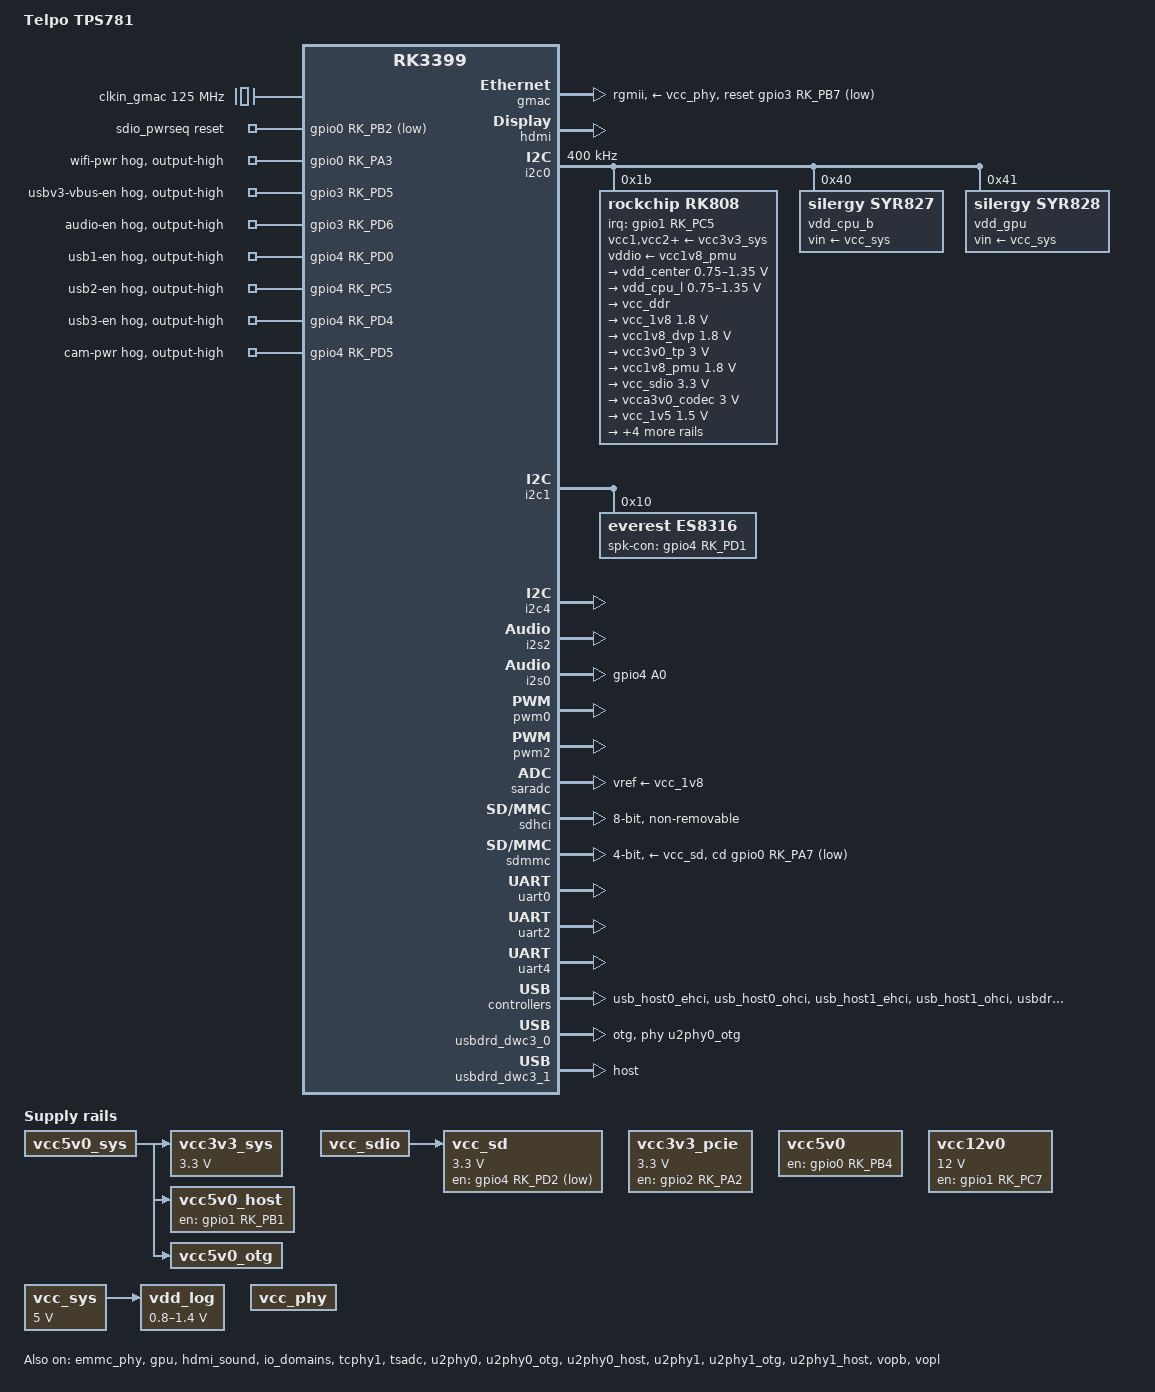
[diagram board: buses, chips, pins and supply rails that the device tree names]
// SPDX-License-Identifier: (GPL-2.0+ OR MIT)
/*
 * Telpo TPS781 (TPS781-MAIN-RK3399 V3.0) RK3399 POS board.
 * USB 5V: usb1/2/3_en = GPIO4_D0/C5/D4 (hogs; the hub has no DT node), host 5V = GPIO1_B1.
 * TF: vcc_sd enable = GPIO4_D2 (active low, Q6), vin = LDO4 (vcc_sdio).
 * HDMI: DDC/HPD not routed (1024x768 only); &hdmi pins VPLL to the 65 MHz pixel clock because
 * VPLL boots at 54 MHz and the VOP would otherwise round down to CPLL (800/13 = 61.538 MHz),
 * which desynchronises TMDS from dclk and tears the picture diagonally.
 */

/dts-v1/;

#include <dt-bindings/pwm/pwm.h>
#include <dt-bindings/input/input.h>
#include "rk3399.dtsi"

/ {
	model = "Telpo TPS781";
	compatible = "rockchip,rk3399-tps781", "rockchip,rk3399";

	aliases {
		mmc0 = &sdio0;
		mmc1 = &sdmmc;
		mmc2 = &sdhci;
	};

	chosen {
		stdout-path = "serial2:1500000n8";
	};

	backlight: backlight {
		status = "disabled";
		compatible = "pwm-backlight";
		brightness-levels = <
			  0   1   2   3   4   5   6   7
			  8   9  10  11  12  13  14  15
			 16  17  18  19  20  21  22  23
			 24  25  26  27  28  29  30  31
			 32  33  34  35  36  37  38  39
			 40  41  42  43  44  45  46  47
			 48  49  50  51  52  53  54  55
			 56  57  58  59  60  61  62  63
			 64  65  66  67  68  69  70  71
			 72  73  74  75  76  77  78  79
			 80  81  82  83  84  85  86  87
			 88  89  90  91  92  93  94  95
			 96  97  98  99 100 101 102 103
			104 105 106 107 108 109 110 111
			112 113 114 115 116 117 118 119
			120 121 122 123 124 125 126 127
			128 129 130 131 132 133 134 135
			136 137 138 139 140 141 142 143
			144 145 146 147 148 149 150 151
			152 153 154 155 156 157 158 159
			160 161 162 163 164 165 166 167
			168 169 170 171 172 173 174 175
			176 177 178 179 180 181 182 183
			184 185 186 187 188 189 190 191
			192 193 194 195 196 197 198 199
			200 201 202 203 204 205 206 207
			208 209 210 211 212 213 214 215
			216 217 218 219 220 221 222 223
			224 225 226 227 228 229 230 231
			232 233 234 235 236 237 238 239
			240 241 242 243 244 245 246 247
			248 249 250 251 252 253 254 255>;
		default-brightness-level = <200>;
		enable-gpios = <&gpio4 RK_PC6 GPIO_ACTIVE_HIGH>;
		pwms = <&pwm0 0 25000 0>;
	};

	clkin_gmac: external-gmac-clock {
		compatible = "fixed-clock";
		clock-frequency = <125000000>;
		clock-output-names = "clkin_gmac";
		#clock-cells = <0>;
	};

	sdio_pwrseq: sdio-pwrseq {
		compatible = "mmc-pwrseq-simple";
		clocks = <&rk808 1>;
		clock-names = "ext_clock";
		pinctrl-names = "default";
		pinctrl-0 = <&wifi_reg_on_h>;

		reset-gpios = <&gpio0 RK_PB2 GPIO_ACTIVE_LOW>;
	};

	vcc3v3_pcie: vcc3v3-pcie-regulator {
		compatible = "regulator-fixed";
		enable-active-high;
		gpio = <&gpio2 RK_PA2 GPIO_ACTIVE_HIGH>;
		pinctrl-names = "default";
		pinctrl-0 = <&pcie_drv>;
		regulator-name = "vcc3v3_pcie";
		regulator-min-microvolt = <3300000>;
		regulator-max-microvolt = <3300000>;
	};

	vcc3v3_sys: vcc3v3-sys {
		compatible = "regulator-fixed";
		regulator-name = "vcc3v3_sys";
		regulator-always-on;
		regulator-boot-on;
		regulator-min-microvolt = <3300000>;
		regulator-max-microvolt = <3300000>;
		vin-supply = <&vcc5v0_sys>;
	};

	vcc5v0_host: vcc5v0-host-regulator {
		compatible = "regulator-fixed";
		enable-active-high;
		gpio = <&gpio1 RK_PB1 GPIO_ACTIVE_HIGH>;
		pinctrl-names = "default";
		pinctrl-0 = <&vcc5v0_host_en>;
		regulator-name = "vcc5v0_host";
		regulator-always-on;
		vin-supply = <&vcc5v0_sys>;
	};

	vcc5v0_otg: vcc5v0-otg-regulator {
		compatible = "regulator-fixed";

		regulator-name = "vcc5v0_otg";
		regulator-always-on;
		vin-supply = <&vcc5v0_sys>;
	};

	vcc5v0: vcc5v0-regulator {
		compatible = "regulator-fixed";
		enable-active-high;
		gpio = <&gpio0 RK_PB4 GPIO_ACTIVE_HIGH>;
		pinctrl-names = "default";
		pinctrl-0 = <&vcc5v0_en>;
		regulator-name = "vcc5v0";
		regulator-always-on;
	};

	vcc12v0: vcc12v0-regulator {
		compatible = "regulator-fixed";
		enable-active-high;
		gpio = <&gpio1 RK_PC7 GPIO_ACTIVE_HIGH>;
		pinctrl-names = "default";
		pinctrl-0 = <&vcc12v0_en>;
		regulator-name = "vcc12v0";
		regulator-min-microvolt = <12000000>;
		regulator-max-microvolt = <12000000>;
		regulator-always-on;
	};

	vcc_sys: vcc5v0_sys: vcc5v0-sys {
		compatible = "regulator-fixed";
		regulator-name = "vcc5v0_sys";
		regulator-always-on;
		regulator-boot-on;
		regulator-min-microvolt = <5000000>;
		regulator-max-microvolt = <5000000>;
	};

	vdd_log: vdd-log {
		compatible = "pwm-regulator";
		pwms = <&pwm2 0 25000 1>;
		pwm-supply = <&vcc_sys>;
		regulator-name = "vdd_log";
		regulator-always-on;
		regulator-boot-on;
		regulator-min-microvolt = <800000>;
		regulator-max-microvolt = <1400000>;
	};

	vcc_phy: vcc-phy-regulator {
		compatible = "regulator-fixed";
		regulator-name = "vcc_phy";
		regulator-always-on;
		regulator-boot-on;
	};

	vcc_sd: vcc-sd {
		compatible = "regulator-fixed";
		gpio = <&gpio4 RK_PD2 GPIO_ACTIVE_LOW>;
		pinctrl-names = "default";
		pinctrl-0 = <&vcc_sd_en>;
		regulator-name = "vcc_sd";
		regulator-min-microvolt = <3300000>;
		regulator-max-microvolt = <3300000>;
		regulator-boot-on;
		regulator-always-on;
		vin-supply = <&vcc_sdio>;
	};

	leds {
		status = "disabled";
		compatible = "gpio-leds";
		pinctrl-names = "default";
		pinctrl-0 = <&red_pin>, <&yellow_pin>;

		red_led: red-led {
			label = "red";
			default-state = "off";
			gpios = <&gpio4 RK_PD3 GPIO_ACTIVE_HIGH>;
		};
		yellow_led: yellow-led {
			label = "yellow";
			default-state = "off";
			gpios = <&gpio1 RK_PA2 GPIO_ACTIVE_HIGH>;
		};
	};

	es8316-sound {
		status = "okay";
		compatible = "simple-audio-card";

		simple-audio-card,name = "rockchip,es8316-codec";
		simple-audio-card,format = "i2s";
		simple-audio-card,mclk-fs = <256>;

		simple-audio-card,widgets =
			"Microphone", "Mic Jack",
			"Headphone", "Headphones",
			"Speaker", "Speaker";

		simple-audio-card,routing =
			"MIC1", "Mic Jack",
			"Headphones", "HPOL",
			"Headphones", "HPOR";

		simple-audio-card,cpu {
			sound-dai = <&i2s0>;
		};

		simple-audio-card,codec {
			sound-dai = <&es8316>;
		};
	};
};

&{/display-subsystem} {
	clocks = <&cru PLL_VPLL>, <&cru PLL_CPLL>;
	clock-names = "hdmi-tmds-pll", "default-vop-pll";
};

&cpu_l0 {
	cpu-supply = <&vdd_cpu_l>;
};

&cpu_l1 {
	cpu-supply = <&vdd_cpu_l>;
};

&cpu_l2 {
	cpu-supply = <&vdd_cpu_l>;
};

&cpu_l3 {
	cpu-supply = <&vdd_cpu_l>;
};

&cpu_b0 {
	cpu-supply = <&vdd_cpu_b>;
};

&cpu_b1 {
	cpu-supply = <&vdd_cpu_b>;
};

&emmc_phy {
	status = "okay";
};

&gmac {
	assigned-clocks = <&cru SCLK_RMII_SRC>;
	assigned-clock-parents = <&clkin_gmac>;
	clock_in_out = "input";
	phy-supply = <&vcc_phy>;
	phy-mode = "rgmii";
	pinctrl-names = "default";
	pinctrl-0 = <&rgmii_pins>;
	snps,reset-gpio = <&gpio3 RK_PB7 GPIO_ACTIVE_LOW>;
	snps,reset-active-low;
	snps,reset-delays-us = <0 10000 50000>;
	tx_delay = <0x2a>;
	rx_delay = <0x21>;
	status = "okay";
};

&gpu {
	mali-supply = <&vdd_gpu>;
	status = "okay";
};

&hdmi {
	status = "okay";
	assigned-clocks = <&cru PLL_VPLL>;
	assigned-clock-rates = <65000000>;
};

&hdmi_sound {
	status = "okay";
};

&i2c0 {
	clock-frequency = <400000>;
	i2c-scl-rising-time-ns = <180>;
	i2c-scl-falling-time-ns = <30>;
	status = "okay";

	rk808: pmic@1b {
		compatible = "rockchip,rk808";
		reg = <0x1b>;
		interrupt-parent = <&gpio1>;
		interrupts = <RK_PC5 IRQ_TYPE_LEVEL_LOW>;
		#clock-cells = <1>;
		clock-output-names = "xin32k", "rk808-clkout2";
		pinctrl-names = "default";
		pinctrl-0 = <&pmic_int_l>;
		system-power-controller;
		wakeup-source;

		vcc1-supply = <&vcc3v3_sys>;
		vcc2-supply = <&vcc3v3_sys>;
		vcc3-supply = <&vcc3v3_sys>;
		vcc4-supply = <&vcc3v3_sys>;
		vcc6-supply = <&vcc3v3_sys>;
		vcc7-supply = <&vcc3v3_sys>;
		vcc8-supply = <&vcc3v3_sys>;
		vcc9-supply = <&vcc3v3_sys>;
		vcc10-supply = <&vcc3v3_sys>;
		vcc11-supply = <&vcc3v3_sys>;
		vcc12-supply = <&vcc3v3_sys>;
		vddio-supply = <&vcc1v8_pmu>;

		regulators {
			vdd_center: DCDC_REG1 {
				regulator-name = "vdd_center";
				regulator-always-on;
				regulator-boot-on;
				regulator-min-microvolt = <750000>;
				regulator-max-microvolt = <1350000>;
				regulator-ramp-delay = <6001>;
				regulator-state-mem {
					regulator-off-in-suspend;
				};
			};

			vdd_cpu_l: DCDC_REG2 {
				regulator-name = "vdd_cpu_l";
				regulator-always-on;
				regulator-boot-on;
				regulator-min-microvolt = <750000>;
				regulator-max-microvolt = <1350000>;
				regulator-ramp-delay = <6001>;
				regulator-state-mem {
					regulator-on-in-suspend;
				};
			};

			vcc_ddr: DCDC_REG3 {
				regulator-name = "vcc_ddr";
				regulator-always-on;
				regulator-boot-on;
				regulator-state-mem {
					regulator-on-in-suspend;
				};
			};

			vcc_1v8: DCDC_REG4 {
				regulator-name = "vcc_1v8";
				regulator-always-on;
				regulator-boot-on;
				regulator-min-microvolt = <1800000>;
				regulator-max-microvolt = <1800000>;
				regulator-state-mem {
					regulator-on-in-suspend;
					regulator-suspend-microvolt = <1800000>;
				};
			};

			vcc1v8_dvp: LDO_REG1 {
				regulator-name = "vcc1v8_dvp";
				regulator-always-on;
				regulator-boot-on;
				regulator-min-microvolt = <1800000>;
				regulator-max-microvolt = <1800000>;
				regulator-state-mem {
					regulator-off-in-suspend;
				};
			};

			vcc3v0_tp: LDO_REG2 {
				regulator-name = "vcc3v0_tp";
				regulator-always-on;
				regulator-boot-on;
				regulator-min-microvolt = <3000000>;
				regulator-max-microvolt = <3000000>;
				regulator-state-mem {
					regulator-off-in-suspend;
				};
			};

			vcc1v8_pmu: LDO_REG3 {
				regulator-name = "vcc1v8_pmu";
				regulator-always-on;
				regulator-boot-on;
				regulator-min-microvolt = <1800000>;
				regulator-max-microvolt = <1800000>;
				regulator-state-mem {
					regulator-on-in-suspend;
					regulator-suspend-microvolt = <1800000>;
				};
			};

			vcc_sdio: LDO_REG4 {
				regulator-name = "vcc_sdio";
				regulator-always-on;
				regulator-boot-on;
				regulator-min-microvolt = <3300000>;
				regulator-max-microvolt = <3300000>;
				regulator-state-mem {
					regulator-on-in-suspend;
					regulator-suspend-microvolt = <3300000>;
				};
			};

			vcca3v0_codec: LDO_REG5 {
				regulator-name = "vcca3v0_codec";
				regulator-always-on;
				regulator-boot-on;
				regulator-min-microvolt = <3000000>;
				regulator-max-microvolt = <3000000>;
				regulator-state-mem {
					regulator-off-in-suspend;
				};
			};

			vcc_1v5: LDO_REG6 {
				regulator-name = "vcc_1v5";
				regulator-always-on;
				regulator-boot-on;
				regulator-min-microvolt = <1500000>;
				regulator-max-microvolt = <1500000>;
				regulator-state-mem {
					regulator-on-in-suspend;
					regulator-suspend-microvolt = <1500000>;
				};
			};

			vcca1v8_codec: LDO_REG7 {
				regulator-name = "vcca1v8_codec";
				regulator-always-on;
				regulator-boot-on;
				regulator-min-microvolt = <1800000>;
				regulator-max-microvolt = <1800000>;
				regulator-state-mem {
					regulator-off-in-suspend;
				};
			};

			vcc_3v0: LDO_REG8 {
				regulator-name = "vcc_3v0";
				regulator-always-on;
				regulator-boot-on;
				regulator-min-microvolt = <3000000>;
				regulator-max-microvolt = <3000000>;
				regulator-state-mem {
					regulator-on-in-suspend;
					regulator-suspend-microvolt = <3000000>;
				};
			};

			vcc3v3_s3: SWITCH_REG1 {
				regulator-name = "vcc3v3_s3";
				regulator-always-on;
				regulator-boot-on;
				regulator-state-mem {
					regulator-off-in-suspend;
				};
			};

			vcc3v3_s0: SWITCH_REG2 {
				regulator-name = "vcc3v3_s0";
				regulator-always-on;
				regulator-boot-on;
				regulator-state-mem {
					regulator-on-in-suspend;
				};
			};
		};
	};

	vdd_cpu_b: regulator@40 {
		compatible = "silergy,syr827";
		reg = <0x40>;
		fcs,suspend-voltage-selector = <1>;
		pinctrl-names = "default";
		pinctrl-0 = <&cpu_b_sleep>;
		regulator-name = "vdd_cpu_b";
		regulator-min-microvolt = <712500>;
		regulator-max-microvolt = <1500000>;
		regulator-ramp-delay = <1000>;
		regulator-always-on;
		regulator-boot-on;
		vin-supply = <&vcc_sys>;

		regulator-state-mem {
			regulator-off-in-suspend;
		};
	};

	vdd_gpu: regulator@41 {
		compatible = "silergy,syr828";
		reg = <0x41>;
		fcs,suspend-voltage-selector = <1>;
		pinctrl-names = "default";
		pinctrl-0 = <&gpu_sleep>;
		regulator-name = "vdd_gpu";
		regulator-min-microvolt = <712500>;
		regulator-max-microvolt = <1500000>;
		regulator-ramp-delay = <1000>;
		regulator-always-on;
		regulator-boot-on;
		vin-supply = <&vcc_sys>;

		regulator-state-mem {
			regulator-off-in-suspend;
		};
	};
};

&i2c1 {
	i2c-scl-falling-time-ns = <30>;
	i2c-scl-rising-time-ns = <140>;
	status = "okay";

	es8316: es8316@10 {
		status = "okay";
		compatible = "everest,es8316";
		reg = <0x10>;
		clocks = <&cru SCLK_I2S_8CH_OUT>;
		clock-names = "mclk";
		spk-con-gpio = <&gpio4 RK_PD1 GPIO_ACTIVE_HIGH>;
		#sound-dai-cells = <0>;
	};
};

&i2c4 {
	i2c-scl-rising-time-ns = <600>;
	i2c-scl-falling-time-ns = <20>;
	status = "okay";

	fusb30x@22 {
		compatible = "fairchild,fusb302";
		reg = <0x22>;
		int-n-gpios = <&gpio1 RK_PA2 GPIO_ACTIVE_HIGH>;
		vbus-5v-gpios = <&gpio1 RK_PA3 GPIO_ACTIVE_HIGH>;
		status = "disabled";
	};
};

&i2c3 {
	i2c-scl-rising-time-ns = <450>;
	i2c-scl-falling-time-ns = <15>;
	status = "disabled";
};

&i2c6 {
	i2c-scl-rising-time-ns = <450>;
	i2c-scl-falling-time-ns = <15>;
	status = "disabled";
};

&i2c7 {
	i2c-scl-rising-time-ns = <450>;
	i2c-scl-falling-time-ns = <15>;
	status = "disabled";
};

&i2s2 {
	status = "okay";
};

&i2s0 {
	pinctrl-names = "default";

	pinctrl-0 = <&i2s0_8ch_bus>, <&i2s0_8ch_mclk>;
	rockchip,capture-channels = <8>;
	rockchip,playback-channels = <8>;
	status = "okay";
};

&io_domains {
	status = "okay";
	bt656-supply = <&vcc1v8_dvp>;
	audio-supply = <&vcca1v8_codec>;
	sdmmc-supply = <&vcc_sdio>;
	gpio1830-supply = <&vcc_3v0>;
};

&pmu_io_domains {
	status = "okay";
	pmu1830-supply = <&vcc_3v0>;
};

&pcie_phy {
	status = "disabled";
};

&pcie0 {
	status = "disabled";
	vpcie3v3-supply = <&vcc3v3_pcie>;
};

&pinctrl {
	gmac {
		phy_intb: phy-intb {
			rockchip,pins = <3 RK_PB2 RK_FUNC_GPIO &pcfg_pull_up>;
		};

		phy_rstb: phy-rstb {
			rockchip,pins = <3 RK_PB7 RK_FUNC_GPIO &pcfg_pull_none>;
		};
	};

	pmic {
		cpu_b_sleep: cpu-b-sleep {
			rockchip,pins = <1 RK_PC1 RK_FUNC_GPIO &pcfg_pull_down>;
		};

		gpu_sleep: gpu-sleep {
			rockchip,pins = <1 RK_PB6 RK_FUNC_GPIO &pcfg_pull_down>;
		};

		pmic_int_l: pmic-int-l {
			rockchip,pins = <1 RK_PC5 RK_FUNC_GPIO &pcfg_pull_up>;
		};

		pmic_dvs2: pmic-dvs2 {
			rockchip,pins = <1 RK_PC2 RK_FUNC_GPIO &pcfg_pull_down>;
		};
	};

	usb2 {
		vcc5v0_host_en: vcc5v0-host-en {
			rockchip,pins = <1 RK_PB1 RK_FUNC_GPIO &pcfg_pull_none>;
		};
	};

	sdmmc {
		vcc_sd_en: vcc-sd-en {
			rockchip,pins = <4 RK_PD2 RK_FUNC_GPIO &pcfg_pull_none>;
		};
	};

	i2s0 {
		i2s0-8ch-bus {
			rockchip,pins =
				<3 RK_PD0 1 &pcfg_pull_none>,
				<3 RK_PD1 1 &pcfg_pull_none>,
				<3 RK_PD2 1 &pcfg_pull_none>,
				<3 RK_PD3 1 &pcfg_pull_none>,
				<3 RK_PD4 1 &pcfg_pull_none>,
				<3 RK_PD7 1 &pcfg_pull_none>;
		};

		i2s0-8ch-bus-bclk-off {
			rockchip,pins =
				<3 RK_PD0 RK_FUNC_GPIO &pcfg_pull_none>,
				<3 RK_PD1 1 &pcfg_pull_none>,
				<3 RK_PD2 1 &pcfg_pull_none>,
				<3 RK_PD3 1 &pcfg_pull_none>,
				<3 RK_PD4 1 &pcfg_pull_none>,
				<3 RK_PD7 1 &pcfg_pull_none>;
		};

		i2s0_8ch_mclk: i2s0-8ch-mclk {
			rockchip,pins = <4 RK_PA0 1 &pcfg_pull_none>;
		};
	};

	suspend {
		ddrio-pwroff {
			rockchip,pins = <0 RK_PA1 RK_FUNC_GPIO &pcfg_pull_none>;
		};
	};

	sdio-pwrseq {
		wifi_reg_on_h: wifi-reg-on-h {
			rockchip,pins = <0 RK_PB2 RK_FUNC_GPIO &pcfg_pull_none>;
		};
	};

	bluetooth {
		bt_reg_on_h: bt-enable-h {
			rockchip,pins = <0 RK_PB1 RK_FUNC_GPIO &pcfg_pull_none>;
		};
		bt_host_wake_l: bt-host-wake-l {
			rockchip,pins = <0 RK_PA4 RK_FUNC_GPIO &pcfg_pull_none>;
		};
		bt_wake_l: bt-wake-l {
			rockchip,pins = <2 RK_PD2 RK_FUNC_GPIO &pcfg_pull_none>;
		};
	};

	leds {
		red_pin: red-pin {
			rockchip,pins = <4 RK_PD3 RK_FUNC_GPIO &pcfg_pull_none>;
		};
		yellow_pin: yellow-pin {
			rockchip,pins = <1 RK_PA2 RK_FUNC_GPIO &pcfg_pull_none>;
		};
	};

	pcie {
		pcie_drv: pcie-drv {
			rockchip,pins = <2 RK_PA2 RK_FUNC_GPIO &pcfg_pull_none>;
		};
		pcie_usim_rst: pcie-usim-rst {
			rockchip,pins = <1 RK_PB2 RK_FUNC_GPIO &pcfg_pull_none>;
		};
	};

	power {
		vcc5v0_en: vcc5v0-en {
			rockchip,pins = <0 RK_PB4 RK_FUNC_GPIO &pcfg_pull_none>;
		};
		vcc12v0_en: vcc12v0-en {
			rockchip,pins = <1 RK_PC7 RK_FUNC_GPIO &pcfg_pull_none>;
		};
		sata_pwr: sata-pwr {
			rockchip,pins = <1 RK_PC4 RK_FUNC_GPIO &pcfg_pull_none>;
		};
	};

	lcd {
		lcd_bl_en: lcd-bl-en {
			rockchip,pins = <4 RK_PC6 RK_FUNC_GPIO &pcfg_pull_none>;
		};
	};

	es8316 {
		hp_det_pin: hp-det-pin {
			rockchip,pins = <0 RK_PB3 RK_FUNC_GPIO &pcfg_pull_up>;
		};
	};

	misc {
		vibrator_gpio: vibrator-gpio {
			rockchip,pins = <4 RK_PD6 RK_FUNC_GPIO &pcfg_pull_up>;
		};
	};
};

&pwm0 {
	status = "okay";
};

&pwm2 {
	status = "okay";
};

&saradc {
	vref-supply = <&vcc_1v8>;
	status = "okay";
};

&sdhci {
	bus-width = <8>;
	mmc-hs400-1_8v;
	mmc-hs400-enhanced-strobe;
	keep-power-in-suspend;
	non-removable;
	status = "okay";
};

&sdio0 {
	bus-width = <4>;
	cap-sd-highspeed;
	cap-sdio-irq;
	clock-frequency = <50000000>;
	disable-wp;
	keep-power-in-suspend;
	max-frequency = <50000000>;
	mmc-pwrseq = <&sdio_pwrseq>;
	non-removable;
	pinctrl-names = "default";
	pinctrl-0 = <&sdio0_bus4 &sdio0_cmd &sdio0_clk>;
	sd-uhs-sdr104;
	#address-cells = <1>;
	#size-cells = <0>;
	status = "disabled";
};

&sdmmc {
	bus-width = <4>;
	cap-mmc-highspeed;
	cap-sd-highspeed;
	cd-gpios = <&gpio0 RK_PA7 GPIO_ACTIVE_LOW>;
	clock-frequency = <150000000>;
	disable-wp;

	vmmc-supply = <&vcc_sd>;
	vqmmc-supply = <&vcc_sdio>;
	max-frequency = <150000000>;
	pinctrl-names = "default";
	pinctrl-0 = <&sdmmc_clk &sdmmc_cmd &sdmmc_cd &sdmmc_bus4>;
	status = "okay";
};

&tcphy0 {
	status = "disabled";
};

&tcphy1 {
	status = "okay";
};

&tsadc {
	rockchip,hw-tshut-mode = <1>;

	rockchip,hw-tshut-polarity = <1>;
	status = "okay";
};

&u2phy0 {
	status = "okay";
};
&u2phy0_otg {
	phy-supply = <&vcc5v0_otg>;
	status = "okay";
};
&u2phy0_host {
	phy-supply = <&vcc5v0_host>;
	status = "okay";
};

&u2phy1 {
	status = "okay";
};
&u2phy1_otg {
	phy-supply = <&vcc5v0_otg>;
	status = "okay";
};
&u2phy1_host {
	phy-supply = <&vcc5v0_host>;
	status = "okay";
};

&uart0 {
	pinctrl-names = "default";
	pinctrl-0 = <&uart0_xfer &uart0_cts &uart0_rts>;
	status = "okay";
};

&uart2 {
	status = "okay";
};

&uart4 {
	status = "okay";
};

&usb_host0_ehci {
	status = "okay";
	companion = <&usb_host0_ohci>;
};

&usb_host0_ohci {
	status = "okay";
	companion = <&usb_host0_ehci>;
};

&usb_host1_ehci {
	status = "okay";
	companion = <&usb_host1_ohci>;
};

&usb_host1_ohci {
	status = "okay";
	companion = <&usb_host1_ehci>;
};

&usbdrd3_0 {
	status = "okay";
};

&usbdrd_dwc3_0 {
	status = "okay";
	dr_mode = "otg";
	maximum-speed = "high-speed";
	phys = <&u2phy0_otg>;
	phy-names = "usb2-phy";
};

&usbdrd3_1 {
	status = "okay";
};

&usbdrd_dwc3_1 {
	status = "okay";
	dr_mode = "host";
};

&vopb {
	assigned-clocks = <&cru ACLK_VOP0>, <&cru HCLK_VOP0>, <&cru DCLK_VOP0_DIV>;
	assigned-clock-rates = <400000000>, <100000000>;
	assigned-clock-parents = <0>, <0>, <&cru PLL_VPLL>;
	clocks = <&cru ACLK_VOP0>, <&cru DCLK_VOP0>, <&cru HCLK_VOP0>, <&cru DCLK_VOP0_DIV>;
	clock-names = "aclk_vop", "dclk_vop", "hclk_vop", "dclk_source";
	status = "okay";
};

&vopb_mmu {
	status = "okay";
};

&vopl {
	assigned-clocks = <&cru ACLK_VOP1>, <&cru HCLK_VOP1>, <&cru DCLK_VOP1_DIV>;
	assigned-clock-rates = <400000000>, <100000000>;
	assigned-clock-parents = <0>, <0>, <&cru PLL_CPLL>;
	clocks = <&cru ACLK_VOP1>, <&cru DCLK_VOP1>, <&cru HCLK_VOP1>, <&cru DCLK_VOP1_DIV>;
	clock-names = "aclk_vop", "dclk_vop", "hclk_vop", "dclk_source";
	status = "okay";
};

&vopl_mmu {
	status = "okay";
};

&gpio0 {
	wifi-pwr-hog {
		gpio-hog;
		gpios = <RK_PA3 GPIO_ACTIVE_HIGH>;
		output-high;
		line-name = "wifi-pwr";
	};
};

&gpio3 {
	usbv3-vbus-hog {
		gpio-hog;
		gpios = <RK_PD5 GPIO_ACTIVE_HIGH>;
		output-high;
		line-name = "usbv3-vbus-en";
	};

	audio-en-hog {
		gpio-hog;
		gpios = <RK_PD6 GPIO_ACTIVE_HIGH>;
		output-high;
		line-name = "audio-en";
	};
};

&gpio4 {
	usb1-en-hog {
		gpio-hog;
		gpios = <RK_PD0 GPIO_ACTIVE_HIGH>;
		output-high;
		line-name = "usb1-en";
	};

	usb2-en-hog {
		gpio-hog;
		gpios = <RK_PC5 GPIO_ACTIVE_HIGH>;
		output-high;
		line-name = "usb2-en";
	};

	usb3-en-hog {
		gpio-hog;
		gpios = <RK_PD4 GPIO_ACTIVE_HIGH>;
		output-high;
		line-name = "usb3-en";
	};

	cam-pwr-hog {
		gpio-hog;
		gpios = <RK_PD5 GPIO_ACTIVE_HIGH>;
		output-high;
		line-name = "cam-pwr";
	};
};
